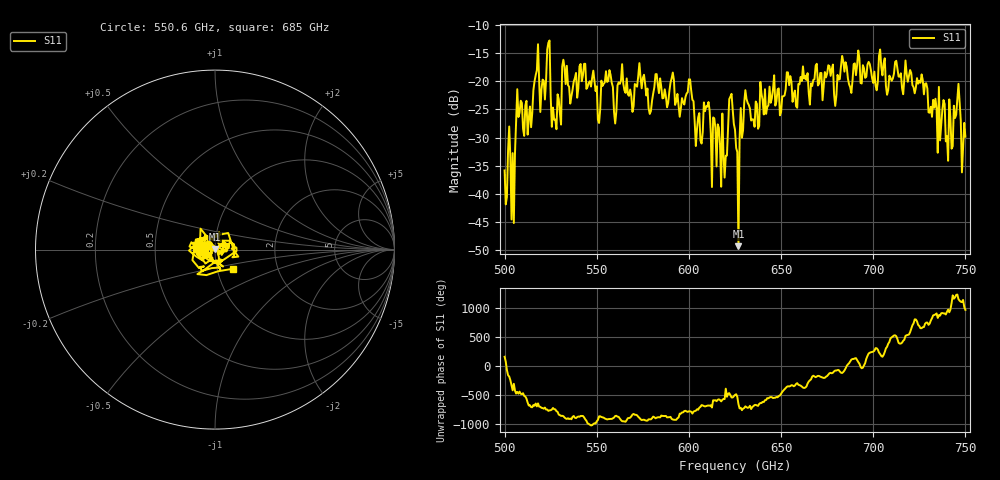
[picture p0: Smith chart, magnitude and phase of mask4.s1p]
!Created with skrf (http://scikit-rf.org).
# GHz S MA R 50.0
!freq magS11 angS11
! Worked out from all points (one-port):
!   401 points, 500 GHz to 750 GHz, reference 50 ohm
!   lowest |S11| = -49.3 dB at 626.9 GHz (marker M1), VSWR 1.01, Z = 50.2 + j0.293 ohm
!   |S11| at or under -10 dB: start of sweep to end of sweep
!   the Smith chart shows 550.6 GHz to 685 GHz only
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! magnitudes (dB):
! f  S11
! 500 GHz  -35.8
! 504.4 GHz  -32.8
! 507.5 GHz  -26.3
! 513.8 GHz  -24.5
! 516.9 GHz  -18.9
! 520.6 GHz  -19.7
! 523.8 GHz  -13.1
! 526.9 GHz  -26.8
! 531.2 GHz  -17.3
! 542.5 GHz  -18.9
! 550.6 GHz  -26.8
! 556.2 GHz  -19.9
! 560 GHz  -27.5
! 562.5 GHz  -20.5
! 593.8 GHz  -22.2
! 605 GHz  -26.4
! 609.4 GHz  -24.4
! 618.8 GHz  -33.0
! 622.5 GHz  -22.7
! 625 GHz  -28.6
! 626.9 GHz  -49.3
! 631.2 GHz  -23.1
! 656.2 GHz  -23.6
! 687.5 GHz  -21.0
! 718.8 GHz  -20.1
! 741.9 GHz  -26.6
! 746.2 GHz  -20.5
! 750 GHz  -29.8
